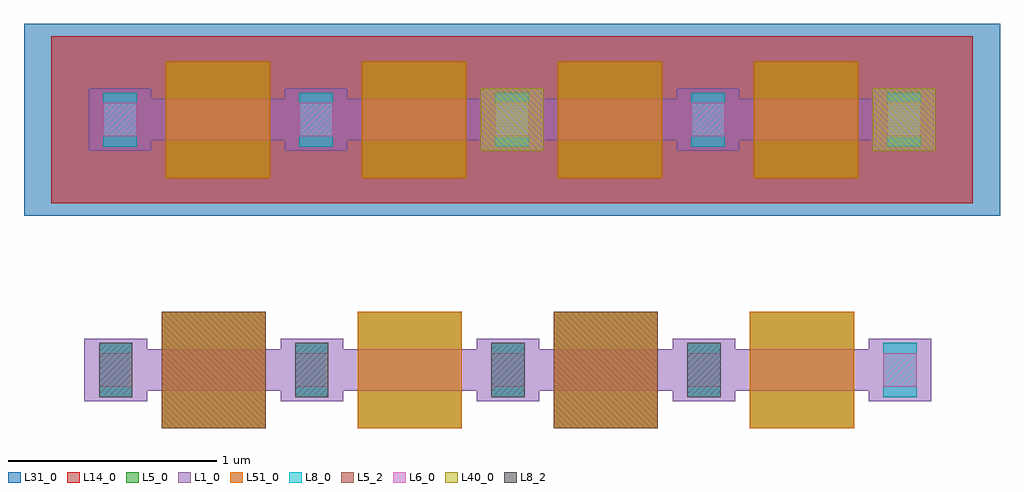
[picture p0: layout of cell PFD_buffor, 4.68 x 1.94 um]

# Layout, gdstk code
import gdstk
lib = gdstk.Library(unit=1e-6, precision=1e-09)
def R(c, l, rs):  # rectangles x0, y0, x1, y1
    for r in rs: c.add(gdstk.rectangle(r[:2], r[2:], *l))
def A(c, l, x, y, w, h, nx, ny, dx, dy):  # array of equal rectangles
    R(c, l, [(x+i*dx, y+j*dy, x+i*dx+w, y+j*dy+h) for i in range(nx) for j in range(ny)])
L1_0 = (1, 0)
L5_0 = (5, 0)
L5_2 = (5, 2)
L6_0 = (6, 0)
L8_0 = (8, 0)
L8_2 = (8, 2)
L14_0 = (14, 0)
L31_0 = (31, 0)
L40_0 = (40, 0)
L51_0 = (51, 0)

pmos = lib.new_cell('pmos')
A(pmos, L1_0, 0, 0, 0.3, 0.3, 3, 1, 0.94, 0)
R(pmos, L1_0, [(0,0.05,2.18,0.25)])
R(pmos, L5_0, [(0.37,-0.13,0.87,0.43), (0.37,-0.13,0.87,0.43), (1.31,-0.13,1.81,0.43)])
A(pmos, L6_0, 0.07, 0.07, 0.16, 0.16, 3, 1, 0.94, 0)
R(pmos, L8_0, [(0.07,0.02,0.23,0.28), (0.07,0.02,0.23,0.28), (1.01,0.02,1.17,0.28), (1.01,0.02,1.17,0.28), (1.95,0.02,2.11,0.28)])
R(pmos, L14_0, [(-0.18,-0.25,2.36,0.55)])
R(pmos, L31_0, [(-0.31,-0.31,2.49,0.61)])
R(pmos, L40_0, [(1.88,0,2.18,0.3)])
R(pmos, L51_0, [(0.37,-0.13,0.87,0.43), (1.31,-0.13,1.81,0.43)])
pmos.add(gdstk.Label('pmos', (0.62,0.15), layer=63, texttype=0))
pmos.add(gdstk.Label('pmos', (0.62,0.15), layer=51, texttype=0))
pmos.add(gdstk.Label('pmos', (1.56,0.15), layer=51, texttype=0))

nmos = lib.new_cell('nmos')
A(nmos, L1_0, 0, 0, 0.3, 0.3, 3, 1, 0.94, 0)
R(nmos, L1_0, [(0,0.05,2.18,0.25)])
R(nmos, L5_0, [(0.37,-0.13,0.87,0.43), (1.31,-0.13,1.81,0.43)])
R(nmos, L5_2, [(0.37,-0.13,0.87,0.43)])
A(nmos, L6_0, 0.07, 0.07, 0.16, 0.16, 3, 1, 0.94, 0)
A(nmos, L8_0, 0.07, 0.02, 0.16, 0.26, 3, 1, 0.94, 0)
R(nmos, L8_2, [(0.07,0.02,0.23,0.28), (1.01,0.02,1.17,0.28)])
R(nmos, L51_0, [(0.37,-0.13,0.87,0.43), (1.31,-0.13,1.81,0.43)])
nmos.add(gdstk.Label('nmos', (0.62,0.15), layer=63, texttype=0))
nmos.add(gdstk.Label('nmos', (0.62,0.15), layer=51, texttype=0))
nmos.add(gdstk.Label('nmos', (1.56,0.15), layer=51, texttype=0))

pfd_buffor = lib.new_cell('PFD_buffor')
pfd_buffor.add(gdstk.Reference(pmos, (-0.69,0.76)))
pfd_buffor.add(gdstk.Reference(pmos, (-0.69,0.76)))
pfd_buffor.add(gdstk.Reference(pmos, (1.19,0.76)))
pfd_buffor.add(gdstk.Reference(nmos, (-0.71,-0.44)))
pfd_buffor.add(gdstk.Reference(nmos, (1.17,-0.44)))

lib.write_gds('PFD_buffor.gds')
